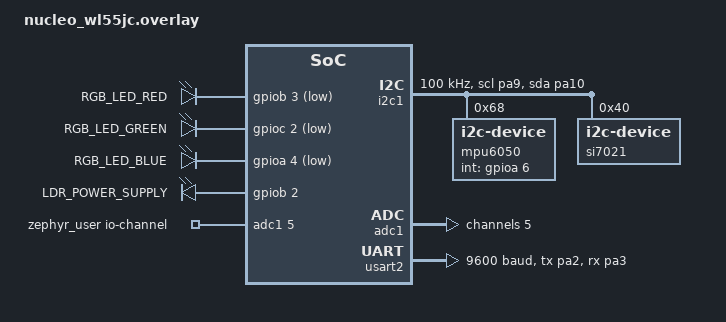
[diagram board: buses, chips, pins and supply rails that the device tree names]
#include <zephyr/dt-bindings/adc/adc.h>
#include <zephyr/dt-bindings/gpio/gpio.h>

/ {
    aliases {
        /* RGB LED Alias */
        led-red = &red_led_node;
        led-green = &green_led_node;
        led-blue = &blue_led_node;

        /* Sensor Input */
        ldr-pwr = &ldr_pwr_node;
        analog-in-pin = &zephyr_user;

        /* User Buttons & Buses */
        sw0 = &user_button_2;
        i2c-bus = &i2c1;
        gps = &usart2;
    };

    /* RGB LED (Common Anode) */
    rgb_leds {
        compatible = "gpio-leds";
        
        red_led_node: red_led_node {
            gpios = <&gpiob 3 (GPIO_ACTIVE_LOW | GPIO_PULL_UP)>;
            label = "RGB_LED_RED";
        };
        
        green_led_node: green_led_node {
            gpios = <&gpioc 2 (GPIO_ACTIVE_LOW | GPIO_PULL_UP)>;
            label = "RGB_LED_GREEN";
        };
        
        blue_led_node: blue_led_node {
            gpios = <&gpioa 4 (GPIO_ACTIVE_LOW | GPIO_PULL_UP)>;
            label = "RGB_LED_BLUE";
        };
    };

    /* On-Demand Power Supply Node for LDR Divisor */
    ldr_pwr_supply {
        compatible = "gpio-leds";
        
        ldr_pwr_node: ldr_pwr_node {
            gpios = <&gpiob 2 GPIO_ACTIVE_HIGH>;
            label = "LDR_POWER_SUPPLY";
        };
    };


    /* ADC Channel Mapping for LDR */
    zephyr_user: zephyr,user {
        io-channels = <&adc1 5>; /* ADC1 Channel 5 mapped to PB1 */
    };
};

/* 5. I2C Bus Overlay for MPU6050 & Si7021 */
&i2c1 {
    status = "okay";
    pinctrl-0 = <&i2c1_scl_pa9 &i2c1_sda_pa10>;
    pinctrl-names = "default";
    clock-frequency = <I2C_BITRATE_STANDARD>; /* 100 kHz */

    /* MPU6050 Motion Sensor Node */
    mpu6050: mpu6050@68 {
        compatible = "i2c-device";
        reg = <0x68>;
        status = "okay";
        int-gpios = <&gpioa 6 GPIO_ACTIVE_HIGH>;
    };

    /* Si7021 Humidity & Temp Sensor Node */
    si7021: si7021@40 {
        compatible = "i2c-device";
        reg = <0x40>;
        status = "okay";
    };
};

/* 6. ADC Peripheral Enable */
&adc1 {
    status = "okay";
    #address-cells = <1>;
    #size-cells = <0>;

    adc_ldr_channel: channel@5 {
        reg = <5>;
        zephyr,gain = "ADC_GAIN_1";
        zephyr,reference = "ADC_REF_INTERNAL"; /* 3.3V VREF */
        zephyr,acquisition-time = <ADC_ACQ_TIME_DEFAULT>;
        zephyr,resolution = <12>; /* 12-bit ADC (0 - 4095) */
    };
};

/* 7. UART Peripheral for GPS Module */
&usart2 {
    status = "okay";
    current-speed = <9600>;
    pinctrl-0 = <&usart2_tx_pa2 &usart2_rx_pa3>;
    pinctrl-names = "default";
};
